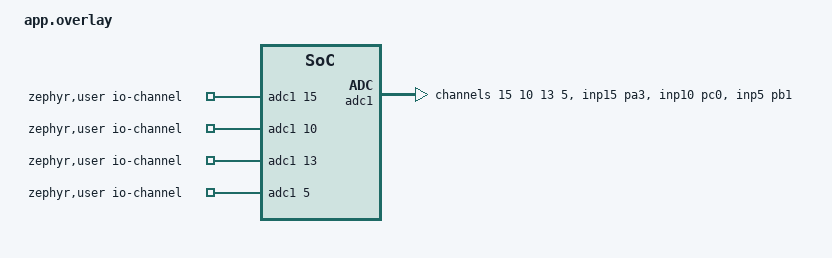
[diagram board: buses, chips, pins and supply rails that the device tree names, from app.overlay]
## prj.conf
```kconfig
# Copyright (c) 2021 Nordic Semiconductor ASA
# SPDX-License-Identifier: Apache-2.0
#
# This file contains selected Kconfig options for the application.

# General config
CONFIG_REQUIRES_FULL_LIBC=y
CONFIG_MAIN_STACK_SIZE=1200

# Networking config
CONFIG_NETWORKING=y
CONFIG_NET_IPV4=y
CONFIG_NET_IPV6=y
CONFIG_NET_TCP=y
CONFIG_NET_SOCKETS=y
CONFIG_ZVFS_POLL_MAX=5

CONFIG_POSIX_API=y

# Logging
CONFIG_LOG=y
CONFIG_NET_LOG=y

# Network driver config
CONFIG_TEST_RANDOM_GENERATOR=y

# Network address config
CONFIG_NET_CONFIG_SETTINGS=y
CONFIG_NET_CONFIG_NEED_IPV4=y
CONFIG_NET_CONFIG_NEED_IPV6=y
CONFIG_NET_CONFIG_MY_IPV4_ADDR="192.0.2.1"
CONFIG_NET_CONFIG_PEER_IPV4_ADDR="192.0.2.2"
CONFIG_NET_CONFIG_MY_IPV6_ADDR="2001:db8::1"
CONFIG_NET_CONFIG_PEER_IPV6_ADDR="2001:db8::2"

# Pin config
CONFIG_ADC=y
```

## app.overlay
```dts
/ {
    zephyr,user {
        io-channels = <&adc1 15>, <&adc1 10>, <&adc1 13>, <&adc1 5>;
    };
};

&adc1 {
    status = "okay";
    pinctrl-0 = <&adc1_inp15_pa3 &adc1_inp10_pc0 &adc3_inp1_pc3_c &adc1_inp5_pb1>;
    pinctrl-names = "default";

    compatible = "st,stm32-adc";
    st,adc-clock-source = "SYNC";
    st,adc-prescaler = <4>;

    #address-cells = <1>;
    #size-cells = <0>;

    channel@f {
        reg = <15>;
        zephyr,gain = "ADC_GAIN_1";
        zephyr,reference = "ADC_REF_INTERNAL";
        zephyr,acquisition-time = <ADC_ACQ_TIME_DEFAULT>;
        zephyr,resolution = <12>;
    };

    channel@a {
        reg = <10>;
        zephyr,gain = "ADC_GAIN_1";
        zephyr,reference = "ADC_REF_INTERNAL";
        zephyr,acquisition-time = <ADC_ACQ_TIME_DEFAULT>;
        zephyr,resolution = <12>;
    };

    channel@d {
        reg = <13>;
        zephyr,gain = "ADC_GAIN_1";
        zephyr,reference = "ADC_REF_INTERNAL";
        zephyr,acquisition-time = <ADC_ACQ_TIME_DEFAULT>;
        zephyr,resolution = <12>;
    };

    channel@5 {
        reg = <5>;
        zephyr,gain = "ADC_GAIN_1";
        zephyr,reference = "ADC_REF_INTERNAL";
        zephyr,acquisition-time = <ADC_ACQ_TIME_DEFAULT>;
        zephyr,resolution = <12>;
    };
};
```

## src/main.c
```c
/*
 * Copyright (c) 2021 Nordic Semiconductor ASA
 * SPDX-License-Identifier: Apache-2.0
 */

#include <zephyr/kernel.h>
#include <zephyr/drivers/sensor.h>
#include <zephyr/drivers/adc.h>
#include <zephyr/logging/log.h>
#include <zephyr/net/socket.h>

LOG_MODULE_REGISTER(main, LOG_LEVEL_INF);

#define TELEMETRY_IP   "192.0.2.0"
#define TELEMETRY_PORT 7742

#if !DT_NODE_EXISTS(DT_PATH(zephyr_user)) || !DT_NODE_HAS_PROP(DT_PATH(zephyr_user), io_channels)
#error "No suitable devicetree overlay specified"
#endif

#define DT_SPEC_AND_COMMA_FOR_INPUTS(node_id, prop, idx)                                           \
	COND_CODE_1(DT_PHA_HAS_CELL_AT_IDX(node_id, prop, idx, input), \
		    (ADC_DT_SPEC_GET_BY_IDX(node_id, idx),), ())

/* Data of ADC io-channels specified in devicetree. */
static const struct adc_dt_spec adc_channels[] = {
	DT_FOREACH_PROP_ELEM(DT_PATH(zephyr_user), io_channels, DT_SPEC_AND_COMMA_FOR_INPUTS)};

int main(void)
{
	int sock;
	struct sockaddr_in destination_addr;
	char msg[] = "Hello from Zephyr";

	sock = zsock_socket(AF_INET, SOCK_DGRAM, IPPROTO_UDP);
	if (sock < 0) {
		printk("Failed to create socket\n");
		return -1;
	}
	printk("Opened socket\n");

	destination_addr.sin_family = AF_INET;
	destination_addr.sin_port = htons(TELEMETRY_PORT);
	zsock_inet_pton(AF_INET, TELEMETRY_IP, &destination_addr.sin_addr);

	printk("Sending bytes\n");
	ssize_t bytes_sent =
		zsock_sendto(sock, msg, sizeof(msg), 0, (struct sockaddr *)&destination_addr,
			     sizeof(destination_addr));

	if (bytes_sent < 0) {
		printk("Failed to send packet\n");
	} else {
		printk("Sent %d bytes\n", bytes_sent);
	}

	zsock_close(sock);

	int err;

	uint32_t buf = 0;
	struct adc_sequence sequence = {
		.buffer = &buf,
		/* buffer size in bytes, not number of samples */
		.buffer_size = sizeof(buf),
	};

	for (size_t i = 0U; i < ARRAY_SIZE(adc_channels); i++) {
		if (!adc_is_ready_dt(&adc_channels[i])) {
			printk("ADC controller device %s not ready\n", adc_channels[i].dev->name);
			return 0;
		}

		err = adc_channel_setup_dt(&adc_channels[i]);
		if (err < 0) {
			printk("Could not setup channel #%d (%d)\n", i, err);
			return 0;
		}
	}

	while (1) {
		printk("-----\n");
		for (size_t i = 0U; i < ARRAY_SIZE(adc_channels); i++) {
			int32_t val_mv;

			/*
			 * Clear buffer before reading.  This ensures the upper 16-bits will be zero
			 * when the adc uses a 16-bit buffer size.
			 */
			buf = 0;

			printk("- %s, channel %d: ", adc_channels[i].dev->name,
			       adc_channels[i].channel_id);

			(void)adc_sequence_init_dt(&adc_channels[i], &sequence);

			err = adc_read_dt(&adc_channels[i], &sequence);
			if (err < 0) {
				printk("Could not read (%d)\n", err);
				continue;
			}

			/*
			 * If using differential mode, the 16 bit value
			 * in the ADC sample buffer should be a signed 2's
			 * complement value.
			 */
			if (adc_channels[i].channel_cfg.differential) {
				val_mv = (int32_t)((int16_t)buf);
			} else {
				val_mv = (int32_t)buf;
			}
			printk("%" PRId32, val_mv);
			err = adc_raw_to_millivolts_dt(&adc_channels[i], &val_mv);
			/* conversion to mV may not be supported, skip if not */
			if (err < 0) {
				printk(" (value in mV not available)\n");
			} else {
				printk(" = %" PRId32 " mV\n", val_mv);
			}

			k_sleep(K_MSEC(1000));
		}
	}

	return 0;
}
```
